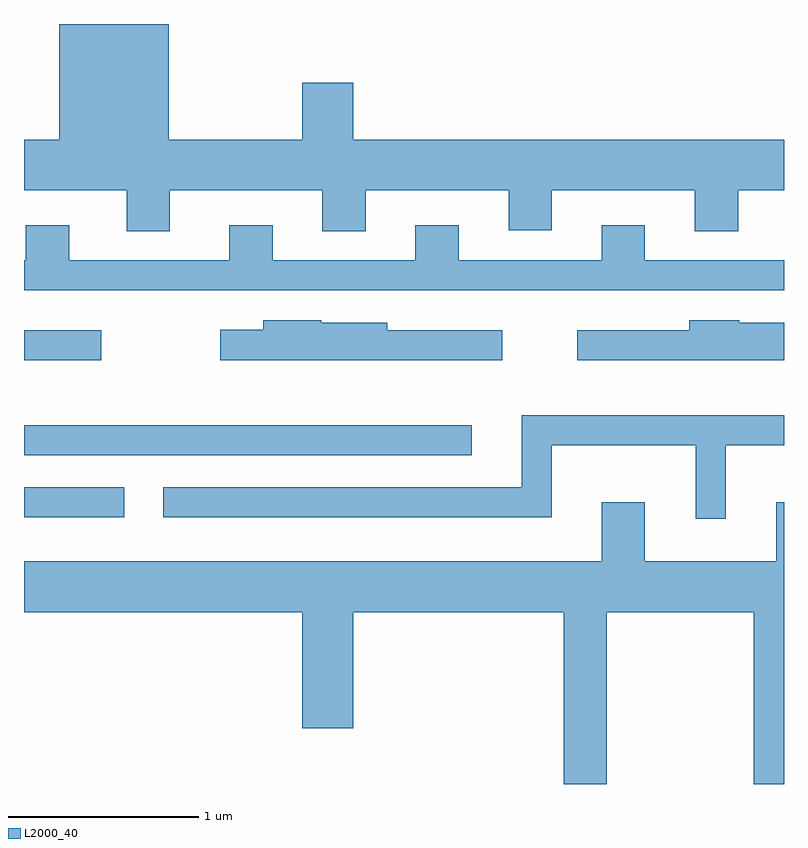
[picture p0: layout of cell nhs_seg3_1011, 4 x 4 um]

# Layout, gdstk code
import gdstk
lib = gdstk.Library(unit=1e-6, precision=1e-09)
def R(c, l, rs):  # rectangles x0, y0, x1, y1
    for r in rs: c.add(gdstk.rectangle(r[:2], r[2:], *l))
def P(c, l, *ps):  # polygons
    for p in ps: c.add(gdstk.Polygon(p, *l))
L2000_40 = (2000, 40)

nhs_seg3_1011 = lib.new_cell('nhs_seg3_1011')
R(nhs_seg3_1011, L2000_40, [(213.611,1235.296,214.138,1235.454), (213.611,1235.621,215.968,1235.779), (213.611,1236.121,214.018,1236.279)])
P(nhs_seg3_1011, L2000_40, [(214.379,1237.016),(215.181,1237.016),(215.181,1236.801),(215.409,1236.801),(215.409,1237.016),(216.161,1237.016),(216.161,1236.806),(216.389,1236.806),(216.389,1237.016),(217.141,1237.016),(217.141,1236.801),(217.369,1236.801),(217.369,1237.016),(217.611,1237.016),(217.611,1237.284),(215.344,1237.284),(215.344,1237.584),(215.076,1237.584),(215.076,1237.284),(214.374,1237.284),(214.374,1237.892),(213.796,1237.892),(213.796,1237.284),(213.611,1237.284),(213.611,1237.016),(214.151,1237.016),(214.151,1236.801),(214.379,1236.801)],
  [(217.611,1236.649),(216.879,1236.649),(216.879,1236.834),(216.651,1236.834),(216.651,1236.649),(215.899,1236.649),(215.899,1236.834),(215.671,1236.834),(215.671,1236.649),(214.919,1236.649),(214.919,1236.834),(214.691,1236.834),(214.691,1236.649),(213.849,1236.649),(213.849,1236.834),(213.621,1236.834),(213.621,1236.649),(213.611,1236.649),(213.611,1236.491),(217.611,1236.491)],
  [(216.128,1236.279),(215.524,1236.279),(215.524,1236.319),(215.175,1236.319),(215.175,1236.334),(214.871,1236.334),(214.871,1236.284),(214.643,1236.284),(214.643,1236.121),(216.128,1236.121)],
  [(217.611,1236.319),(217.375,1236.319),(217.375,1236.334),(217.111,1236.334),(217.111,1236.279),(216.523,1236.279),(216.523,1236.121),(217.611,1236.121)],
  [(217.304,1235.676),(217.611,1235.676),(217.611,1235.834),(216.231,1235.834),(216.231,1235.454),(214.343,1235.454),(214.343,1235.296),(216.389,1235.296),(216.389,1235.676),(217.146,1235.676),(217.146,1235.288),(217.304,1235.288)],
  [(216.679,1234.796),(217.451,1234.796),(217.451,1233.892),(217.611,1233.892),(217.611,1235.374),(217.571,1235.374),(217.571,1235.064),(216.879,1235.064),(216.879,1235.374),(216.651,1235.374),(216.651,1235.064),(213.611,1235.064),(213.611,1234.796),(215.076,1234.796),(215.076,1234.186),(215.344,1234.186),(215.344,1234.796),(216.451,1234.796),(216.451,1233.892),(216.679,1233.892)])

lib.write_gds('nhs_seg3_1011.gds')
